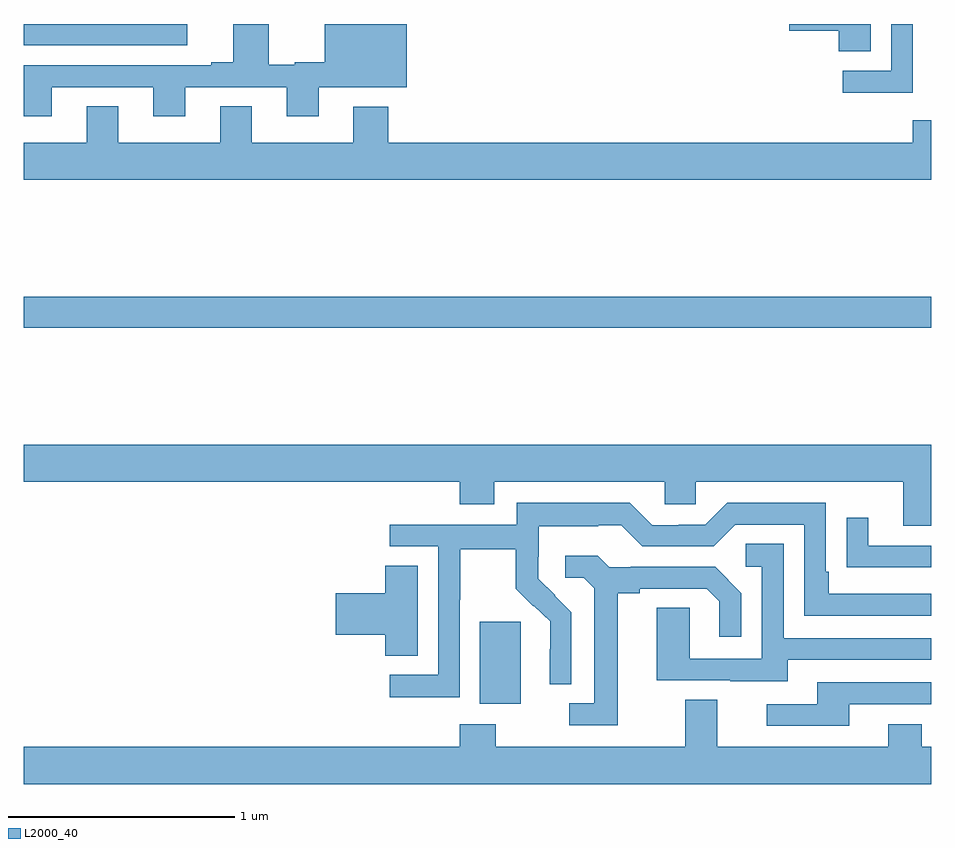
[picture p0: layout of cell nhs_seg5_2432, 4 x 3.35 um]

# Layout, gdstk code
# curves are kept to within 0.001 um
import gdstk
lib = gdstk.Library(unit=1e-6, precision=1e-09)
def R(c, l, rs):  # rectangles x0, y0, x1, y1
    for r in rs: c.add(gdstk.rectangle(r[:2], r[2:], *l))
def P(c, l, *ps):  # polygons
    for p in ps: c.add(gdstk.Polygon(p, *l))
L2000_40 = (2000, 40)

nhs_seg5_2432 = lib.new_cell('nhs_seg5_2432')
R(nhs_seg5_2432, L2000_40, [(255.011,835.802,255.19,836.163), (253,837.46,257,837.596), (253,838.706,253.72,838.799)])
P(nhs_seg5_2432, L2000_40, [(256.92,838.799),(256.824,838.799),(256.824,838.593),(256.611,838.593),(256.611,838.495),(256.92,838.495)],
  [(253.123,838.521),(253.571,838.521),(253.571,838.392),(253.711,838.392),(253.711,838.521),(254.159,838.521),(254.159,838.392),(254.299,838.392),(254.299,838.52),(254.689,838.52),(254.689,838.799),(254.327,838.799),(254.327,838.63),(254.195,838.63),(254.195,838.619),(254.08,838.619),(254.08,838.799),(253.922,838.799),(253.922,838.63),(253.826,838.63),(253.826,838.617),(253,838.617),(253,838.392),(253.123,838.392)],
  [(256.735,838.799),(256.374,838.799),(256.374,838.769),(256.592,838.769),(256.592,838.678),(256.735,838.678)],
  [(257,838.375),(256.919,838.375),(256.919,838.276),(254.606,838.276),(254.606,838.435),(254.453,838.435),(254.453,838.276),(254.005,838.276),(254.005,838.436),(253.865,838.436),(253.865,838.276),(253.417,838.276),(253.417,838.436),(253.277,838.436),(253.277,838.276),(253,838.276),(253,838.112),(257,838.112)],
  [(257,836.944),(253,836.944),(253,836.78),(254.921,836.78),(254.921,836.681),(255.073,836.681),(255.073,836.78),(255.825,836.78),(255.825,836.682),(255.963,836.682),(255.963,836.78),(256.877,836.78),(256.877,836.586),(257,836.586)],
  [(254.922,836.26),(254.925,836.26),(254.925,836.484),(255.169,836.484),(255.169,836.309),(255.246,836.232),(255.249,836.235),(255.32,836.165),(255.32,836.042),(255.318,836.042),(255.318,835.888),(255.414,835.888),(255.414,836.206),(255.268,836.354),(255.268,836.451),(255.27,836.451),(255.27,836.585),(255.533,836.585),(255.533,836.589),(255.633,836.589),(255.726,836.496),(256.041,836.496),(256.137,836.592),(256.44,836.592),(256.44,836.19),(257,836.19),(257,836.286),(256.549,836.286),(256.549,836.383),(256.536,836.383),(256.536,836.688),(256.101,836.688),(256.005,836.592),(255.887,836.592),(255.887,836.589),(255.771,836.589),(255.671,836.689),(255.174,836.689),(255.174,836.592),(254.613,836.592),(254.613,836.496),(254.826,836.496),(254.826,835.929),(254.613,835.929),(254.613,835.831),(254.922,835.831)],
  [(257,836.499),(256.723,836.499),(256.723,836.623),(256.627,836.623),(256.627,836.404),(256.729,836.404),(256.729,836.403),(257,836.403)],
  [(256.369,835.995),(257,835.995),(257,836.091),(256.35,836.091),(256.35,836.507),(256.182,836.507),(256.182,836.406),(256.254,836.406),(256.254,836.001),(255.936,836.001),(255.936,836.225),(255.791,836.225),(255.791,835.905),(256.115,835.905),(256.115,835.901),(256.369,835.901)],
  [(255.619,836.288),(255.715,836.288),(255.715,836.31),(256.01,836.31),(256.067,836.253),(256.067,836.097),(256.164,836.097),(256.164,836.29),(256.048,836.406),(255.676,836.406),(255.676,836.403),(255.582,836.403),(255.53,836.455),(255.387,836.455),(255.387,836.358),(255.468,836.358),(255.515,836.311),(255.515,835.803),(255.405,835.803),(255.405,835.707),(255.619,835.707)],
  [(254.737,836.411),(254.594,836.411),(254.594,836.288),(254.376,836.288),(254.376,836.105),(254.594,836.105),(254.594,836.014),(254.737,836.014)],
  [(256.639,835.8),(257,835.8),(257,835.896),(256.499,835.896),(256.499,835.8),(256.275,835.8),(256.275,835.704),(256.639,835.704)],
  [(257,835.612),(256.959,835.612),(256.959,835.711),(256.811,835.711),(256.811,835.612),(256.057,835.612),(256.057,835.82),(255.917,835.82),(255.917,835.612),(255.081,835.612),(255.081,835.711),(254.921,835.711),(254.921,835.612),(253,835.612),(253,835.448),(257,835.448)])

lib.write_gds('nhs_seg5_2432.gds')
